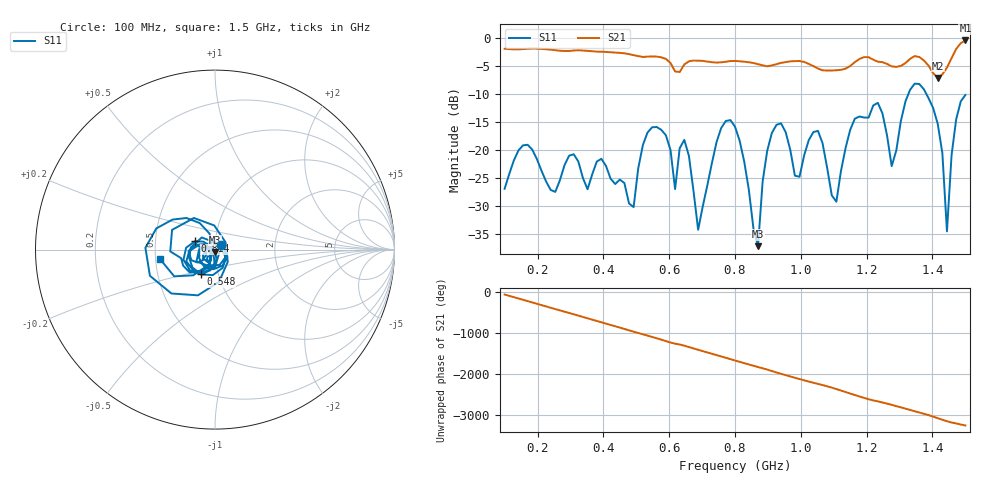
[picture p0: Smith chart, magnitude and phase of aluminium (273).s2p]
! NanoVNA-App
! Date: 2025-09-25 14:57:24
! Start: 100MHz Stop: 1,5GHz Points: 101
! S-Parameter data: F S11 S21 S12 S22
# Hz S RI R 50
!  Frequency  S11_Real  S11_Imag  S21_Real  S21_Imag  S12_Real  S12_Imag  S22_Real  S22_Imag
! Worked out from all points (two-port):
!   101 points, 100 MHz to 1.5 GHz, reference 50 ohm
!   highest |S21| = -0.44 dB at 1.5 GHz (marker M1); lowest = -7.1 dB at 1.416 GHz (marker M2)
!   |S21| within 3 dB of the highest: start of sweep to 574.3 MHz; 1.459 GHz to end of sweep (the widest 2 of 4)
!   lowest |S11| = -37.2 dB at 870 MHz (marker M3), VSWR 1.03, Z = 49.9 - j1.37 ohm
!   |S11| at or under -10 dB: start of sweep to 1.327 GHz; 1.381 GHz to end of sweep
!   S12 and S22 are empty: the file has one direction only
!   S11 on the Smith chart (normalised r, x): 100 MHz: 1.07, +0.06; 548 MHz: 0.82, -0.23; 814 MHz: 0.80, +0.08; 1.5 GHz: 0.53, -0.06
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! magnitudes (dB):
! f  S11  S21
! 100 MHz  -27.0  -1.9
! 338 MHz  -25.0  -2.2
! 492 MHz  -30.2  -3.1
! 548 MHz  -16.0  -3.3
! 576 MHz  -16.4  -3.5
! 618 MHz  -27.0  -6.0
! 646 MHz  -18.2  -4.7
! 688 MHz  -34.3  -4.1
! 800 MHz  -15.8  -4.1
! 814 MHz  -18.3  -4.2
! 870 MHz  -37.2  -4.7
! 912 MHz  -17.0  -4.9
! 996 MHz  -24.8  -4.1
! 1.038 GHz  -16.8  -5.0
! 1.108 GHz  -29.3  -5.8
! 1.22 GHz  -12.1  -3.9
! 1.276 GHz  -22.9  -5.1
! 1.346 GHz  -8.2  -3.2
! 1.416 GHz  -15.4  -7.1
! 1.444 GHz  -34.6  -5.3
! 1.472 GHz  -14.5  -2.0
! 1.5 GHz  -10.2  -0.4
